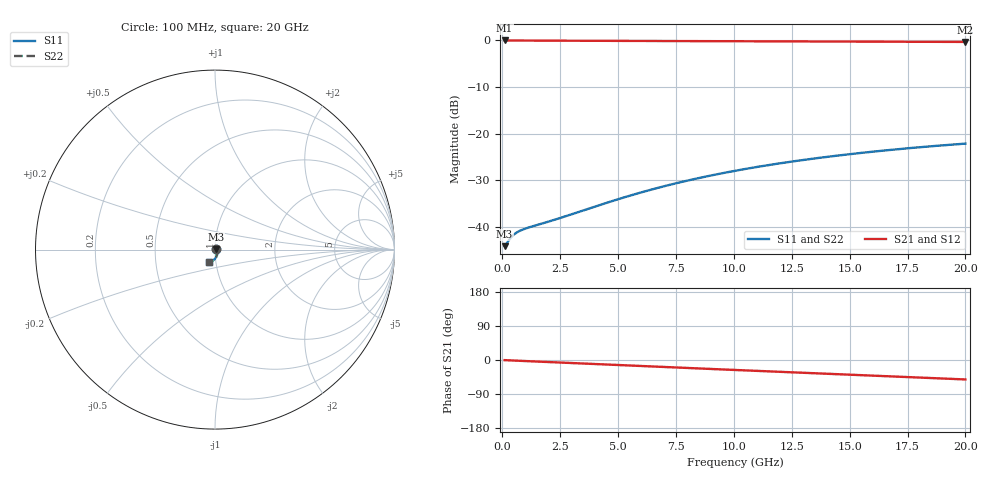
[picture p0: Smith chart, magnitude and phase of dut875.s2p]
! Touchstone file exported from HFSS 2026.1.0
!  File:  C:/ffzhzh/LocalFiles/Ansys_Project_Files/temp_train_BSMRDL_875_1783170979_18472.aedt
!  Generated:  09:17:39 PM Jul  4, 2026
!  Design:  BSMRDL
!  Project:  temp_train_BSMRDL_875_1783170979_18472
! Variables:
!  h_bsmrdl = 4.12um
!  h_ox = 20um
!  h_rdl = 5um
!  h_sub = 80um
!  h_tmrdl = 5um
!  h_tsv = 80um
!  h_via = 3um
!  l_bsmrdl = 933.44um
!  l_sub = 1333.44um
!  l_tmrdl = 200um
!  m_sub = 200um
!  pitch = 16.09um
!  r_tsv = 6um
!  s_tmrdl = 10um
!  w_bsmrdl = 13.24um
!  w_sub = 500um
!  w_tmrdl = 12um
!  x_tsv_center1 = 206um
!  x_tsv_center2 = 1152.68um
!  x_tsv_center3 = 1364.68um
!  x_tsv_center4 = 2311.36um
!  x_tsv_center5 = 2523.36um
!  x_tsv_center6 = 3470.04um
# GHz S MA R 50.000000
! Terminal data exported
! Port[1] = BSM_RDL1_1_T1
! Port[2] = BSM_RDL1_1_T2
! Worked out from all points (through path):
!   200 points, 100 MHz to 20 GHz, reference 50 ohm
!   highest |S21| = -0.05 dB at 100 MHz (marker M1); lowest = -0.4 dB at 20 GHz (marker M2)
!   group delay of S21, straight-line fit = 7.09 ps
!   lowest |S11| = -44.1 dB at 100 MHz (marker M3), VSWR 1.01, Z = 50.6 + j0.0602 ohm
!   |S11| at or under -10 dB: start of sweep to end of sweep
!   |S22| runs from -44.1 to -22.2 dB; largest |S21 - S12| = 5.5e-15
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0.1  0.00623 5.5  0.9938 -0.3  0.9938 -0.3  0.00623 5.5
! Gamma 0 0 0 0
! Port Impedance 50 0 50 0
0.3  0.007311 9.0  0.9928 -0.9  0.9928 -0.9  0.007311 9.0
0.4  0.007845 7.9  0.9923 -1.2  0.9923 -1.2  0.007844 7.9
0.5  0.008289 6.0  0.9918 -1.5  0.9918 -1.5  0.008289 5.9
0.6  0.008652 3.7  0.9914 -1.7  0.9914 -1.7  0.00865 3.7
0.8  0.009201 -0.8  0.9908 -2.3  0.9908 -2.3  0.009198 -0.8
1.1  0.009804 -6.9  0.9902 -3.0  0.9902 -3.0  0.009799 -6.9
2.3  0.01204 -25.3  0.9886 -6.2  0.9886 -6.2  0.01203 -25.3
3.5  0.01504 -38.2  0.9867 -9.4  0.9867 -9.4  0.01502 -38.2
5.3  0.02088 -52.6  0.9834 -14.1  0.9834 -14.1  0.02084 -52.7
6.1  0.02384 -57.8  0.9818 -16.2  0.9818 -16.2  0.02379 -58.0
6.8  0.02656 -62.1  0.9804 -18.0  0.9804 -18.0  0.02649 -62.2
7.6  0.02977 -66.6  0.9789 -20.1  0.9789 -20.1  0.02969 -66.8
8.4  0.03305 -70.9  0.9773 -22.1  0.9773 -22.1  0.03296 -71.0
9.2  0.03638 -74.8  0.9758 -24.2  0.9758 -24.2  0.03628 -75.0
10.1  0.04015 -79.1  0.9742 -26.4  0.9742 -26.4  0.04003 -79.3
11.7  0.04684 -86.1  0.9714 -30.5  0.9714 -30.5  0.04669 -86.4
13.4  0.05382 -92.9  0.9686 -34.8  0.9686 -34.8  0.05364 -93.3
15  0.06018 -99.0  0.9661 -38.8  0.9661 -38.8  0.05997 -99.3
16.7  0.06664 -105.0  0.9635 -43.1  0.9635 -43.1  0.06639 -105.4
18.3  0.07239 -110.4  0.9611 -47.1  0.9611 -47.1  0.07212 -110.9
20  0.07811 -115.9  0.9586 -51.3  0.9586 -51.3  0.07779 -116.4
